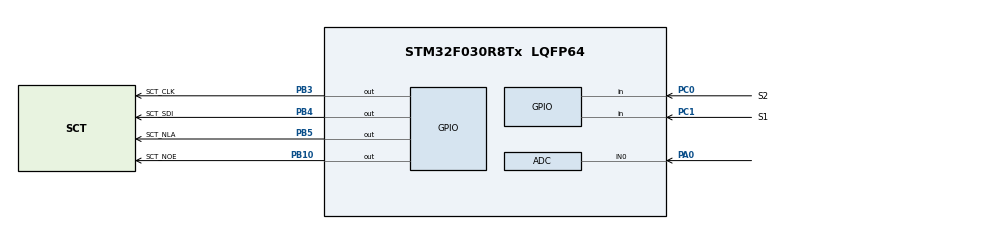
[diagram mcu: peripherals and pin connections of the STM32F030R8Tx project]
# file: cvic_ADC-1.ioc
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ADC.ClockPrescaler=ADC_CLOCK_ASYNC_DIV1
ADC.ContinuousConvMode=ENABLE
ADC.DMAContinuousRequests=DISABLE
ADC.EOCSelection=ADC_EOC_SINGLE_CONV
ADC.Overrun=ADC_OVR_DATA_OVERWRITTEN
ADC.SamplingTime=ADC_SAMPLETIME_239CYCLES_5
ADC.ScanConvMode=ADC_SCAN_DIRECTION_FORWARD
Mcu.Family=STM32F0
Mcu.Name=STM32F030R8Tx
Mcu.Package=LQFP64
NVIC.ADC1_IRQn=true\:0\:0\:false\:false\:true\:true\:true
PA0.Mode=IN0
PA0.Signal=ADC_IN0
PB10.GPIO_Label=SCT_NOE
PB10.Signal=GPIO_Output
PB3.GPIO_Label=SCT_CLK
PB3.Signal=GPIO_Output
PB4.GPIO_Label=SCT_SDI
PB4.Signal=GPIO_Output
PB5.GPIO_Label=SCT_NLA
PB5.Signal=GPIO_Output
PC0.GPIO_Label=S2
PC0.GPIO_PuPd=GPIO_PULLUP
PC0.Signal=GPIO_Input
PC1.GPIO_Label=S1
PC1.GPIO_PuPd=GPIO_PULLUP
PC1.Signal=GPIO_Input
ProjectManager.HeapSize=0x200
ProjectManager.StackSize=0x400
ProjectManager.TargetToolchain=STM32CubeIDE
VP_ADC_TempSens_Input.Mode=IN-TempSens
VP_ADC_Vref_Input.Mode=IN-Vrefint
board=custom

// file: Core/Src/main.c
/* USER CODE BEGIN Header */
/**
  ******************************************************************************
  * @file           : main.c
  * @brief          : Main program body
  ******************************************************************************
  * @attention
  *
  * <h2><center>&copy; Copyright (c) 2020 STMicroelectronics.
  * All rights reserved.</center></h2>
  *
  * This software component is licensed by ST under BSD 3-Clause license,
  * the "License"; You may not use this file except in compliance with the
  * License. You may obtain a copy of the License at:
  *                        opensource.org/licenses/BSD-3-Clause
  *
  ******************************************************************************
  */
/* USER CODE END Header */

#include "main.h"

/* USER CODE BEGIN Includes */
#include "LED_driver.h"
/* USER CODE END Includes */

/* USER CODE BEGIN PD */
#define ADC_Q 12
#define TEMP110_CAL_ADDR ((uint16_t*) ((uint32_t) 0x1FFFF7C2))
#define TEMP30_CAL_ADDR ((uint16_t*) ((uint32_t) 0x1FFFF7B8))
#define VREFINT_CAL_ADDR ((uint16_t*) ((uint32_t) 0x1FFFF7BA))
#define DP_DISP_1 1
#define DP_DONT_SHOW 0
#define SHOW_BAR 1
#define DONT_SHOW_BAR 0

/* USER CODE END PD */

ADC_HandleTypeDef hadc;

void SystemClock_Config(void);
static void MX_GPIO_Init(void);
static void MX_ADC_Init(void);

/* USER CODE BEGIN 0 */

volatile enum { SHOW_POT, SHOW_VOLT, SHOW_TEMP } state = SHOW_POT;

	void HAL_ADC_ConvCpltCallback(ADC_HandleTypeDef* hadc)
	{

		static uint32_t channel = 0;
		static uint32_t avg_pot = 1000;
		static int32_t temperature;
		static uint32_t voltage;
		static uint32_t raw_volt;
		static uint32_t raw_temp;
		static uint32_t raw_pot;

		if (__HAL_ADC_GET_FLAG(hadc, ADC_FLAG_EOS)) channel = 0;
		else channel++;

		switch (channel){
		case 0:
			raw_pot = avg_pot >> ADC_Q;
			avg_pot -= raw_pot;
			avg_pot += HAL_ADC_GetValue(hadc);
			break;
		case 1:
			raw_temp = HAL_ADC_GetValue(hadc);
			temperature = ((int32_t)raw_temp - (int32_t)(*TEMP30_CAL_ADDR));
			temperature = temperature * (int32_t)(110 - 30);
			temperature = temperature / (int32_t)(*TEMP110_CAL_ADDR - *TEMP30_CAL_ADDR);
			temperature = temperature + 30;
			break;
		case 2:
			raw_volt = HAL_ADC_GetValue(hadc);
			voltage = 330 * (*VREFINT_CAL_ADDR) / raw_volt;
			break;
		}
		switch (state){
		case SHOW_POT :
			sct_value(500*raw_pot/4096, DP_DONT_SHOW , SHOW_BAR);
			break;
		case SHOW_VOLT :
			sct_value(voltage, DP_DISP_1, DONT_SHOW_BAR);
			break;
		case SHOW_TEMP :
			sct_value(temperature, DP_DONT_SHOW , DONT_SHOW_BAR);
			break;
		}
	}
/* USER CODE END 0 */

int main(void)
{

  /* MCU Configuration--------------------------------------------------------*/

  /* Reset of all peripherals, Initializes the Flash interface and the Systick. */
  HAL_Init();

  /* Configure the system clock */
  SystemClock_Config();

  /* Initialize all configured peripherals */
  MX_GPIO_Init();
  MX_ADC_Init();
  /* USER CODE BEGIN 2 */
  	uint32_t Tick;
  	sct_init();
  	HAL_ADC_Start_IT(&hadc);
  	HAL_ADCEx_Calibration_Start(&hadc);
  	//GPIOC->PUPDR |= GPIO_PUPDR_PUPDR0_0;
  	//GPIOC->PUPDR |= GPIO_PUPDR_PUPDR0_1;

  /* USER CODE END 2 */

  /* Infinite loop */
  /* USER CODE BEGIN WHILE */
  while (1)
  {
	  if(HAL_GPIO_ReadPin(GPIOC, GPIO_PIN_0)==0){
		  state = SHOW_TEMP;
	  	  Tick = HAL_GetTick();
	  }
	  if(HAL_GPIO_ReadPin(GPIOC, GPIO_PIN_1)==0){
		  state = SHOW_VOLT;
	  	  Tick = HAL_GetTick();
	  }

	  if(HAL_GetTick()>(Tick+1000)) state = SHOW_POT;

  }
    /* USER CODE END WHILE */

}

void SystemClock_Config(void)
{
  RCC_OscInitTypeDef RCC_OscInitStruct = {0};
  RCC_ClkInitTypeDef RCC_ClkInitStruct = {0};

  /** Initializes the CPU, AHB and APB busses clocks
  */
  RCC_OscInitStruct.OscillatorType = RCC_OSCILLATORTYPE_HSI|RCC_OSCILLATORTYPE_HSI14;
  RCC_OscInitStruct.HSIState = RCC_HSI_ON;
  RCC_OscInitStruct.HSI14State = RCC_HSI14_ON;
  RCC_OscInitStruct.HSICalibrationValue = RCC_HSICALIBRATION_DEFAULT;
  RCC_OscInitStruct.HSI14CalibrationValue = 16;
  RCC_OscInitStruct.PLL.PLLState = RCC_PLL_NONE;
  if (HAL_RCC_OscConfig(&RCC_OscInitStruct) != HAL_OK)
  {
    Error_Handler();
  }
  /** Initializes the CPU, AHB and APB busses clocks
  */
  RCC_ClkInitStruct.ClockType = RCC_CLOCKTYPE_HCLK|RCC_CLOCKTYPE_SYSCLK
                              |RCC_CLOCKTYPE_PCLK1;
  RCC_ClkInitStruct.SYSCLKSource = RCC_SYSCLKSOURCE_HSI;
  RCC_ClkInitStruct.AHBCLKDivider = RCC_SYSCLK_DIV1;
  RCC_ClkInitStruct.APB1CLKDivider = RCC_HCLK_DIV1;

  if (HAL_RCC_ClockConfig(&RCC_ClkInitStruct, FLASH_LATENCY_0) != HAL_OK)
  {
    Error_Handler();
  }
}

static void MX_ADC_Init(void)
{

  ADC_ChannelConfTypeDef sConfig = {0};

  /** Configure the global features of the ADC (Clock, Resolution, Data Alignment and number of conversion)
  */
  hadc.Instance = ADC1;
  hadc.Init.ClockPrescaler = ADC_CLOCK_ASYNC_DIV1;
  hadc.Init.Resolution = ADC_RESOLUTION_12B;
  hadc.Init.DataAlign = ADC_DATAALIGN_RIGHT;
  hadc.Init.ScanConvMode = ADC_SCAN_DIRECTION_FORWARD;
  hadc.Init.EOCSelection = ADC_EOC_SINGLE_CONV;
  hadc.Init.LowPowerAutoWait = DISABLE;
  hadc.Init.LowPowerAutoPowerOff = DISABLE;
  hadc.Init.ContinuousConvMode = ENABLE;
  hadc.Init.DiscontinuousConvMode = DISABLE;
  hadc.Init.ExternalTrigConv = ADC_SOFTWARE_START;
  hadc.Init.ExternalTrigConvEdge = ADC_EXTERNALTRIGCONVEDGE_NONE;
  hadc.Init.DMAContinuousRequests = DISABLE;
  hadc.Init.Overrun = ADC_OVR_DATA_OVERWRITTEN;
  if (HAL_ADC_Init(&hadc) != HAL_OK)
  {
    Error_Handler();
  }
  /** Configure for the selected ADC regular channel to be converted.
  */
  sConfig.Channel = ADC_CHANNEL_0;
  sConfig.Rank = ADC_RANK_CHANNEL_NUMBER;
  sConfig.SamplingTime = ADC_SAMPLETIME_239CYCLES_5;
  if (HAL_ADC_ConfigChannel(&hadc, &sConfig) != HAL_OK)
  {
    Error_Handler();
  }
  /** Configure for the selected ADC regular channel to be converted.
  */
  sConfig.Channel = ADC_CHANNEL_TEMPSENSOR;
  if (HAL_ADC_ConfigChannel(&hadc, &sConfig) != HAL_OK)
  {
    Error_Handler();
  }
  /** Configure for the selected ADC regular channel to be converted.
  */
  sConfig.Channel = ADC_CHANNEL_VREFINT;
  if (HAL_ADC_ConfigChannel(&hadc, &sConfig) != HAL_OK)
  {
    Error_Handler();
  }

}

static void MX_GPIO_Init(void)
{
  GPIO_InitTypeDef GPIO_InitStruct = {0};

  /* GPIO Ports Clock Enable */
  __HAL_RCC_GPIOC_CLK_ENABLE();
  __HAL_RCC_GPIOA_CLK_ENABLE();
  __HAL_RCC_GPIOB_CLK_ENABLE();

  /*Configure GPIO pin Output Level */
  HAL_GPIO_WritePin(GPIOB, SCT_NOE_Pin|SCT_CLK_Pin|SCT_SDI_Pin|SCT_NLA_Pin, GPIO_PIN_RESET);

  /*Configure GPIO pins : S2_Pin S1_Pin */
  GPIO_InitStruct.Pin = S2_Pin|S1_Pin;
  GPIO_InitStruct.Mode = GPIO_MODE_INPUT;
  GPIO_InitStruct.Pull = GPIO_PULLUP;
  HAL_GPIO_Init(GPIOC, &GPIO_InitStruct);

  /*Configure GPIO pins : SCT_NOE_Pin SCT_CLK_Pin SCT_SDI_Pin SCT_NLA_Pin */
  GPIO_InitStruct.Pin = SCT_NOE_Pin|SCT_CLK_Pin|SCT_SDI_Pin|SCT_NLA_Pin;
  GPIO_InitStruct.Mode = GPIO_MODE_OUTPUT_PP;
  GPIO_InitStruct.Pull = GPIO_NOPULL;
  GPIO_InitStruct.Speed = GPIO_SPEED_FREQ_LOW;
  HAL_GPIO_Init(GPIOB, &GPIO_InitStruct);

}

void Error_Handler(void)
{
}

/************************ (C) COPYRIGHT STMicroelectronics *****END OF FILE****/
